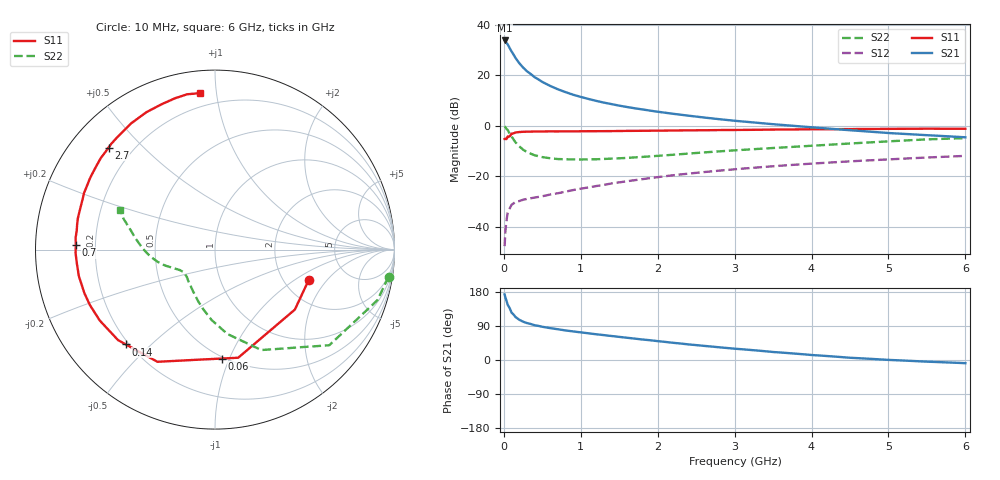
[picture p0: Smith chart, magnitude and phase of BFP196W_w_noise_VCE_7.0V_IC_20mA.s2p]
! (c) 2017  Infineon Technologies AG, Munich
! Infineon Technologies  Discrete & RF Semiconductors
! BFP196W
! VCE =  7.0 V,  IC =  20 mA
! Common Emitter S-Parameters:  Jan 2017
# GHz  S  MA  R  50
!  f  S11  S21  S12  S22
! GHz  MAG  ANG  MAG  ANG  MAG  ANG  MAG  ANG
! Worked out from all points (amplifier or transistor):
!   77 points, 10 MHz to 6 GHz, reference 50 ohm
!   highest |S21| = 33.9 dB at 10 MHz (marker M1)
!   |S21| within 3 dB of that: start of sweep to 75.63 MHz
!   unconditionally stable (mu >= 1): 1.028 GHz to 3.172 GHz
!   at 130 MHz: K = 0.23, MSG = 29.4 dB, |S12| = -30.7 dB
!   at 2.2 GHz: K = 1.06, MAG = 10.7 dB, |S12| = -19.6 dB
!   at 6 GHz: K = 0.90, MSG = 3.7 dB, |S12| = -11.9 dB
!   lowest NFmin = 1.02 dB at 450 MHz
!   S11 on the Smith chart (normalised r, x): 10 MHz: 2.74, -1.31; 60 MHz: 0.49, -0.94; 140 MHz: 0.19, -0.42; 700 MHz: 0.13, +0.02; 2.7 GHz: 0.11, +0.40; 6 GHz: 0.12, +0.90
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0.01  0.5492 -17.7  49.49 173.0  0.0041 84.7  0.9785 -8.9
0.02  0.5565 -36.9  47.9 164.9  0.0079 77.7  0.9483 -17.2
0.05  0.6161 -77.9  41.43 145.7  0.0188 59.3  0.8306 -39.9
0.06  0.6082 -86.3  38.83 142.6  0.0203 55.4  0.7776 -43.8
0.1  0.7026 -117.2  30.07 125.0  0.0271 44.7  0.616 -65.3
0.14  0.725 -133.2  23.87 116.5  0.03 38.3  0.4992 -77.7
0.15  0.739 -137.0  22.43 113.7  0.0308 36.9  0.4747 -81.7
0.2  0.7539 -148.4  17.58 106.3  0.0322 34.0  0.3925 -92.8
0.25  0.7626 -156.2  14.39 101.1  0.0342 33.3  0.3377 -101.3
0.3  0.7672 -161.7  12.13 97.5  0.0355 33.0  0.3023 -108.1
0.4  0.773 -169.2  9.253 91.8  0.0378 35.5  0.2608 -118.3
0.5  0.7734 -174.5  7.435 87.7  0.0401 37.8  0.2398 -125.5
0.7  0.7758 178.1  5.336 81.2  0.0459 42.4  0.2197 -135.0
0.9  0.7776 172.2  4.151 75.4  0.0532 46.8  0.2158 -140.3
1.1  0.7836 167.3  3.418 70.5  0.0601 49.4  0.2163 -144.1
1.5  0.7899 158.8  2.519 61.0  0.0756 52.4  0.2273 -150.0
2.1  0.8055 146.8  1.82 47.7  0.1003 53.0  0.2604 -157.3
2.7  0.8214 136.2  1.41 35.5  0.125 51.1  0.3043 -164.4
3.1  0.831 129.8  1.223 28.3  0.1415 48.9  0.3339 -169.3
4.1  0.8563 115.2  0.912 11.9  0.1819 42.4  0.4112 177.6
5.1  0.8729 104.0  0.707 -0.6  0.2199 35.2  0.5018 164.8
6  0.8756 95.4  0.593 -8.4  0.2536 28.3  0.5711 157.3
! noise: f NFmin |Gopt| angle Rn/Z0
0.45  1.02  0.4  170  0.05
0.9  1.2  0.51  178  0.05
1.9  2.11  0.69  -155  0.11
2.4  2.55  0.74  -147  0.2
